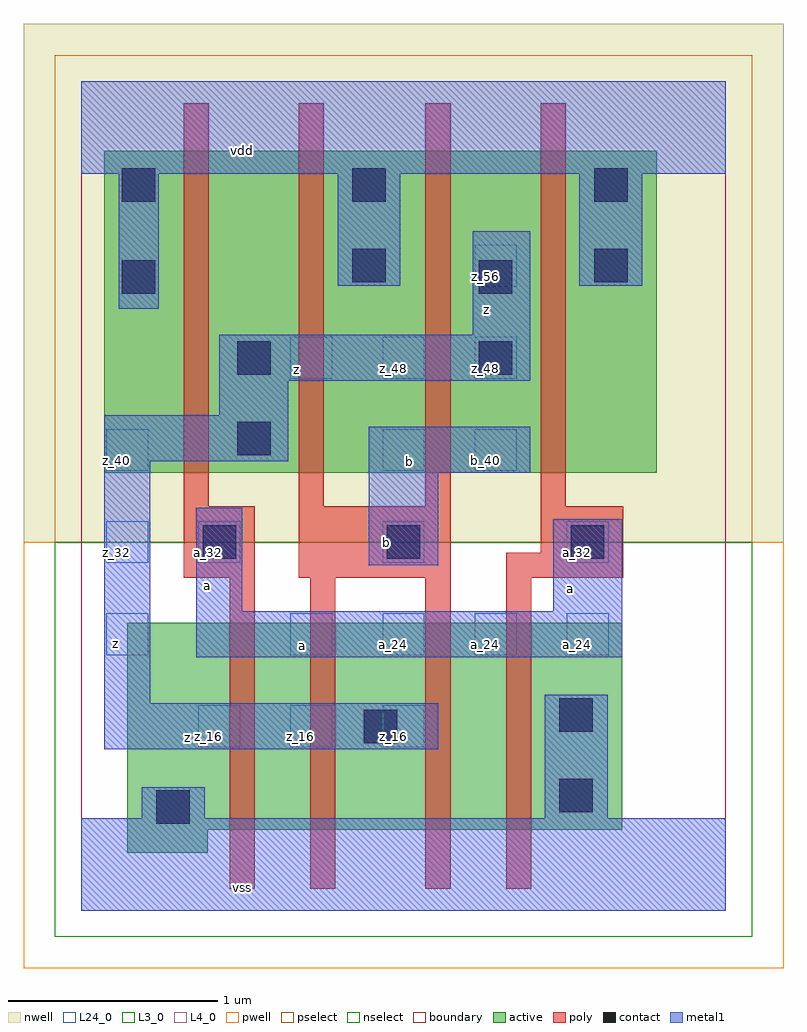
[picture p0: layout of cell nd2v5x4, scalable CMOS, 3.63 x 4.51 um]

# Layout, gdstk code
import gdstk
lib = gdstk.Library(unit=1e-6, precision=2.5e-09)
def R(c, l, rs):  # rectangles x0, y0, x1, y1
    for r in rs: c.add(gdstk.rectangle(r[:2], r[2:], *l))
def A(c, l, x, y, w, h, nx, ny, dx, dy):  # array of equal rectangles
    R(c, l, [(x+i*dx, y+j*dy, x+i*dx+w, y+j*dy+h) for i in range(nx) for j in range(ny)])
L3_0 = (3, 0)
L4_0 = (4, 0)
L24_0 = (24, 0)
contact = (25, 0)
pwell = (41, 0)
nwell = (42, 0)
active = (43, 0)
pselect = (44, 0)
nselect = (45, 0)
poly = (46, 0)
metal1 = (49, 0)
boundary = (63, 0)

nd2v5x4 = lib.new_cell('nd2v5x4')
R(nd2v5x4, L3_0, [(0.22,0.275,0.605,0.385), (0.22,0.385,2.585,1.375)])
R(nd2v5x4, L4_0, [(0.11,2.09,2.75,3.63)])
A(nd2v5x4, L24_0, 0.56, 0.78, 0.2, 0.2, 3, 1, 0.44, 0)
A(nd2v5x4, L24_0, 0.12, 1.22, 0.2, 0.2, 1, 3, 0, 0.44)
A(nd2v5x4, L24_0, 1, 1.22, 0.2, 0.2, 4, 1, 0.44, 0)
A(nd2v5x4, L24_0, 0.56, 1.66, 0.2, 0.2, 3, 1, 0.88, 0)
A(nd2v5x4, L24_0, 1, 2.54, 0.2, 0.2, 3, 1, 0.44, 0)
R(nd2v5x4, L24_0, [(1.44,2.1,1.64,2.3), (1.88,2.1,2.08,2.3), (1.88,2.98,2.08,3.18)])
A(nd2v5x4, contact, 0.58, 1.68, 0.16, 0.16, 3, 1, 0.88, 0)
R(nd2v5x4, contact, [(0.36,0.415,0.52,0.575), (2.285,0.47,2.445,0.63), (1.35,0.8,1.51,0.96), (2.285,0.855,2.445,1.015), (0.745,2.175,0.905,2.335), (0.745,2.56,0.905,2.72), (1.9,2.56,2.06,2.72), (0.195,2.945,0.355,3.105), (1.9,2.945,2.06,3.105), (1.295,3,1.455,3.16), (2.45,3,2.61,3.16), (0.195,3.385,0.355,3.545), (1.295,3.385,1.455,3.545), (2.45,3.385,2.61,3.545)])
R(nd2v5x4, pwell, [(-0.275,-0.275,3.355,1.76)])
R(nd2v5x4, nwell, [(-0.275,1.76,3.355,4.235)])
R(nd2v5x4, active, [(0.22,0.275,0.605,0.385), (0.22,0.385,2.585,1.375), (0.11,2.09,2.75,3.63)])
R(nd2v5x4, pselect, [(-0.125,1.76,3.205,4.085)])
R(nd2v5x4, nselect, [(-0.125,-0.125,3.205,1.76)])
R(nd2v5x4, poly, [(0.71,0.105,0.83,1.59), (1.095,0.105,1.215,1.59), (1.645,0.105,1.765,1.59), (2.03,0.105,2.15,1.59), (0.49,1.59,0.83,1.93), (1.04,1.59,1.765,1.93), (2.03,1.59,2.59,1.71), (2.195,1.71,2.59,1.93), (0.49,1.93,0.61,3.855), (1.04,1.93,1.16,3.855), (1.645,1.93,1.765,3.855), (2.195,1.93,2.315,3.855)])
R(nd2v5x4, metal1, [(0,0,3.08,0.44), (0.29,0.44,0.59,0.59), (2.215,0.44,2.515,1.03), (0.11,0.77,1.705,0.99), (0.11,0.99,0.33,2.145), (0.55,1.21,2.585,1.43), (0.55,1.43,0.77,1.925), (2.255,1.43,2.585,1.87), (1.375,1.65,1.705,2.09), (1.375,2.09,2.145,2.31), (0.11,2.145,0.99,2.365), (0.66,2.365,0.99,2.53), (0.66,2.53,2.145,2.75), (1.87,2.75,2.145,3.245), (0.18,2.875,0.37,3.52), (1.225,2.985,1.525,3.52), (2.38,2.985,2.68,3.52), (0,3.52,3.08,3.96)])
R(nd2v5x4, boundary, [(0,0,3.08,3.96)])
nd2v5x4.add(gdstk.Label('vss', (0.77,0.11), layer=49, texttype=0))
nd2v5x4.add(gdstk.Label('z', (0.5075,0.825), layer=49, texttype=0))
nd2v5x4.add(gdstk.Label('a', (1.0575,1.265), layer=49, texttype=0))
nd2v5x4.add(gdstk.Label('a', (2.3375,1.54), layer=49, texttype=0))
nd2v5x4.add(gdstk.Label('b', (1.4575,1.76), layer=49, texttype=0))
nd2v5x4.add(gdstk.Label('a', (0.605,1.5525), layer=49, texttype=0))
nd2v5x4.add(gdstk.Label('b', (1.5675,2.145), layer=49, texttype=0))
nd2v5x4.add(gdstk.Label('z', (0.165,1.2775), layer=49, texttype=0))
nd2v5x4.add(gdstk.Label('z', (1.03,2.585), layer=49, texttype=0))
nd2v5x4.add(gdstk.Label('z', (1.9375,2.8725), layer=49, texttype=0))
nd2v5x4.add(gdstk.Label('vdd', (0.77,3.63), layer=49, texttype=0))
nd2v5x4.add(gdstk.Label('z_16', (0.61,0.83), layer=24, texttype=0))
nd2v5x4.add(gdstk.Label('a_32', (0.61,1.71), layer=24, texttype=0))
nd2v5x4.add(gdstk.Label('z_16', (1.05,0.83), layer=24, texttype=0))
nd2v5x4.add(gdstk.Label('a_24', (1.05,1.27), layer=24, texttype=0))
nd2v5x4.add(gdstk.Label('z_48', (1.05,2.59), layer=24, texttype=0))
nd2v5x4.add(gdstk.Label('z_16', (1.49,0.83), layer=24, texttype=0))
nd2v5x4.add(gdstk.Label('a_24', (1.49,1.27), layer=24, texttype=0))
nd2v5x4.add(gdstk.Label('b_32', (1.49,1.71), layer=24, texttype=0))
nd2v5x4.add(gdstk.Label('b_40', (1.49,2.15), layer=24, texttype=0))
nd2v5x4.add(gdstk.Label('z_48', (1.49,2.59), layer=24, texttype=0))
nd2v5x4.add(gdstk.Label('a_24', (1.93,1.27), layer=24, texttype=0))
nd2v5x4.add(gdstk.Label('b_40', (1.93,2.15), layer=24, texttype=0))
nd2v5x4.add(gdstk.Label('z_48', (1.93,2.59), layer=24, texttype=0))
nd2v5x4.add(gdstk.Label('z_56', (1.93,3.03), layer=24, texttype=0))
nd2v5x4.add(gdstk.Label('z_24', (0.17,1.27), layer=24, texttype=0))
nd2v5x4.add(gdstk.Label('z_32', (0.17,1.71), layer=24, texttype=0))
nd2v5x4.add(gdstk.Label('z_40', (0.17,2.15), layer=24, texttype=0))
nd2v5x4.add(gdstk.Label('a_24', (2.37,1.27), layer=24, texttype=0))
nd2v5x4.add(gdstk.Label('a_32', (2.37,1.71), layer=24, texttype=0))

lib.write_gds('nd2v5x4.gds')
